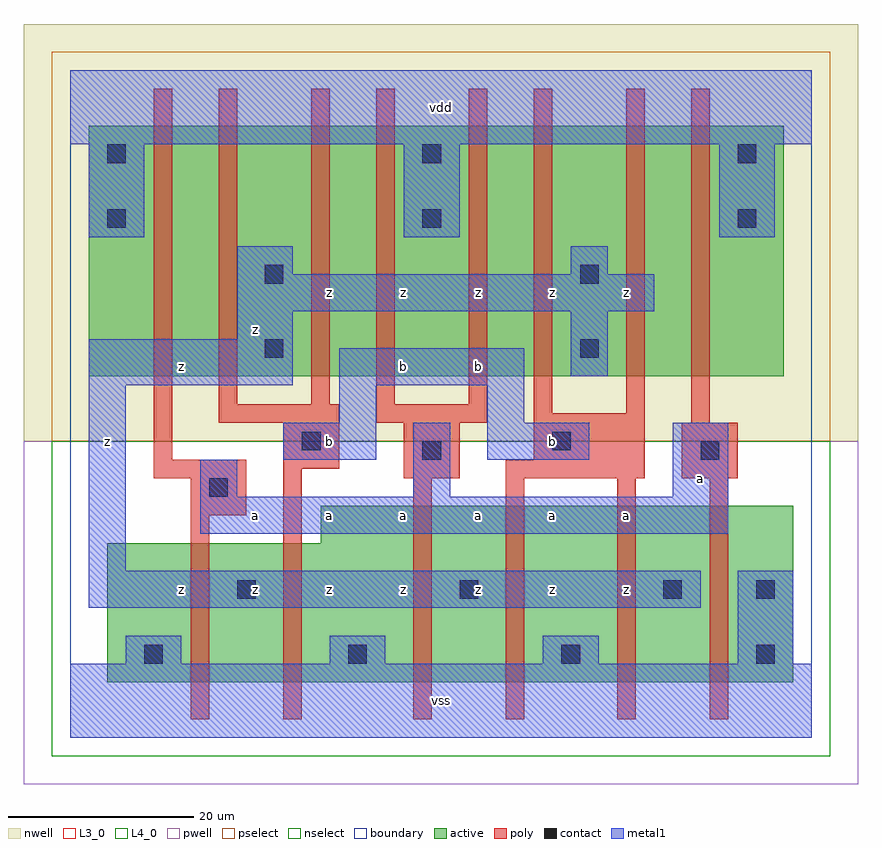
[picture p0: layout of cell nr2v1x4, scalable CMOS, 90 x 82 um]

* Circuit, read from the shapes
.subckt nr2v1x4 a b vdd vss z
M1 z a vss VSUBS nfet w=15u l=2u
M2 vss b z VSUBS nfet w=15u l=2u
M3 z a vss VSUBS nfet w=19u l=2u m=2
M4 vss b z VSUBS nfet w=19u l=2u m=2
M5 n1 a vdd n2 pfet w=27u l=2u
M6 z b n1 n2 pfet w=27u l=2u
M7 n3 b z n2 pfet w=27u l=2u
M8 vdd a n3 n2 pfet w=27u l=2u
M9 n4 a vdd n2 pfet w=27u l=2u
M10 z b n4 n2 pfet w=27u l=2u
M11 n5 b z n2 pfet w=27u l=2u
M12 vdd a n5 n2 pfet w=27u l=2u
.ends

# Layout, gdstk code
import gdstk
lib = gdstk.Library(unit=1e-6, precision=1e-09)
def R(c, l, rs):  # rectangles x0, y0, x1, y1
    for r in rs: c.add(gdstk.rectangle(r[:2], r[2:], *l))
def A(c, l, x, y, w, h, nx, ny, dx, dy):  # array of equal rectangles
    R(c, l, [(x+i*dx, y+j*dy, x+i*dx+w, y+j*dy+h) for i in range(nx) for j in range(ny)])
L3_0 = (3, 0)
L4_0 = (4, 0)
contact = (25, 0)
pwell = (41, 0)
nwell = (42, 0)
active = (43, 0)
pselect = (44, 0)
nselect = (45, 0)
poly = (46, 0)
metal1 = (49, 0)
boundary = (63, 0)

nr2v1x4 = lib.new_cell('nr2v1x4')
R(nr2v1x4, L3_0, [(4,6,78,21), (27,21,78,25)])
R(nr2v1x4, L4_0, [(2,39,77,66)])
A(nr2v1x4, contact, 4, 55, 2, 2, 3, 2, 34, 7)
R(nr2v1x4, contact, [(8,8,10,10), (30,8,32,10), (53,8,55,10), (74,8,76,10), (18,15,20,17), (42,15,44,17), (64,15,66,17), (74,15,76,17), (15,26,17,28), (38,30,40,32), (68,30,70,32), (25,31,27,33), (52,31,54,33), (21,41,23,43), (55,41,57,43), (21,49,23,51), (55,49,57,51)])
R(nr2v1x4, pwell, [(-5,-5,85,32)])
R(nr2v1x4, nwell, [(-5,32,85,77)])
R(nr2v1x4, active, [(4,6,78,21), (27,21,78,25), (2,39,77,66)])
R(nr2v1x4, pselect, [(-2,32,82,74)])
R(nr2v1x4, nselect, [(-2,-2,82,32)])
R(nr2v1x4, poly, [(13,2,15,24), (23,2,25,29), (37,2,39,28), (47,2,49,28), (59,2,61,28), (69,2,71,28), (13,24,19,28), (9,28,19,30), (36,28,42,34), (47,28,62,30), (66,28,72,34), (23,29,29,34), (9,30,11,70), (50,30,62,35), (16,34,29,36), (33,34,45,36), (67,34,69,70), (50,35,52,70), (60,35,62,70), (16,36,18,70), (26,36,28,70), (33,36,35,70), (43,36,45,70)])
A(nr2v1x4, metal1, 2, 54, 6, 10, 3, 1, 34, 0)
R(nr2v1x4, metal1, [(0,0,80,8), (6,8,12,11), (28,8,34,11), (51,8,57,11), (72,8,78,18), (2,14,68,18), (2,18,6,38), (14,22,71,26), (14,26,18,30), (37,26,41,34), (65,26,71,34), (23,30,33,34), (45,30,56,34), (29,34,33,38), (45,34,49,38), (2,38,24,43), (29,38,49,42), (54,39,58,46), (18,43,24,46), (18,46,63,50), (18,50,24,53), (54,50,58,53), (0,64,80,72)])
R(nr2v1x4, boundary, [(0,0,80,72)])
nr2v1x4.add(gdstk.Label('z', (4,32), layer=49, texttype=0))
nr2v1x4.add(gdstk.Label('z', (20,16), layer=49, texttype=0))
nr2v1x4.add(gdstk.Label('z', (28,16), layer=49, texttype=0))
nr2v1x4.add(gdstk.Label('z', (12,16), layer=49, texttype=0))
nr2v1x4.add(gdstk.Label('a', (20,24), layer=49, texttype=0))
nr2v1x4.add(gdstk.Label('a', (28,24), layer=49, texttype=0))
nr2v1x4.add(gdstk.Label('b', (28,32), layer=49, texttype=0))
nr2v1x4.add(gdstk.Label('z', (12,40), layer=49, texttype=0))
nr2v1x4.add(gdstk.Label('z', (20,44), layer=49, texttype=0))
nr2v1x4.add(gdstk.Label('z', (28,48), layer=49, texttype=0))
nr2v1x4.add(gdstk.Label('vss', (40,4), layer=49, texttype=0))
nr2v1x4.add(gdstk.Label('z', (36,16), layer=49, texttype=0))
nr2v1x4.add(gdstk.Label('z', (44,16), layer=49, texttype=0))
nr2v1x4.add(gdstk.Label('a', (36,24), layer=49, texttype=0))
nr2v1x4.add(gdstk.Label('a', (44,24), layer=49, texttype=0))
nr2v1x4.add(gdstk.Label('b', (36,40), layer=49, texttype=0))
nr2v1x4.add(gdstk.Label('b', (44,40), layer=49, texttype=0))
nr2v1x4.add(gdstk.Label('z', (36,48), layer=49, texttype=0))
nr2v1x4.add(gdstk.Label('z', (44,48), layer=49, texttype=0))
nr2v1x4.add(gdstk.Label('vdd', (40,68), layer=49, texttype=0))
nr2v1x4.add(gdstk.Label('z', (60,16), layer=49, texttype=0))
nr2v1x4.add(gdstk.Label('z', (52,16), layer=49, texttype=0))
nr2v1x4.add(gdstk.Label('a', (52,24), layer=49, texttype=0))
nr2v1x4.add(gdstk.Label('a', (60,24), layer=49, texttype=0))
nr2v1x4.add(gdstk.Label('b', (52,32), layer=49, texttype=0))
nr2v1x4.add(gdstk.Label('z', (52,48), layer=49, texttype=0))
nr2v1x4.add(gdstk.Label('z', (60,48), layer=49, texttype=0))
nr2v1x4.add(gdstk.Label('a', (68,28), layer=49, texttype=0))

lib.write_gds('nr2v1x4.gds')
